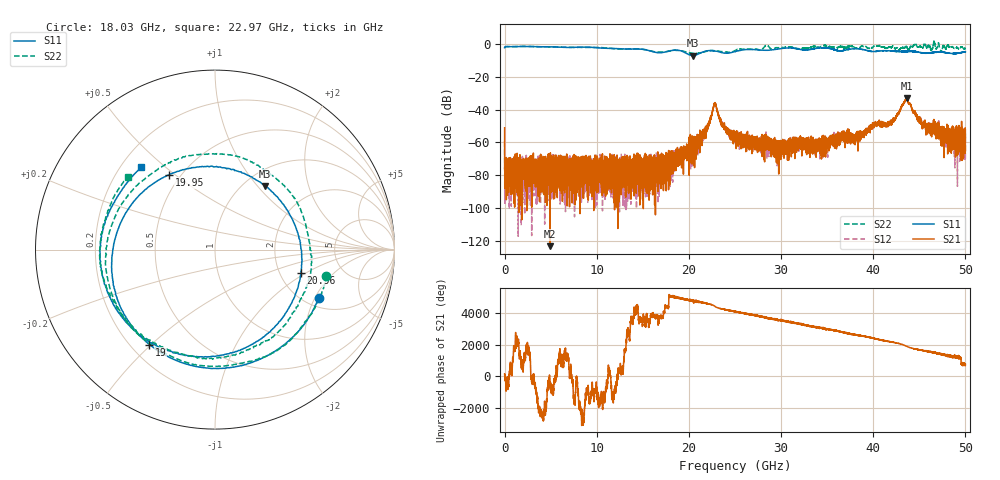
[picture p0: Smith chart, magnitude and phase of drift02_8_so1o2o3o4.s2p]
!Created with skrf (http://scikit-rf.org).
# Hz S RI R 50.0
!freq ReS11 ImS11 ReS21 ImS21 ReS12 ImS12 ReS22 ImS22
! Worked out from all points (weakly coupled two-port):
!   10001 points, 300 kHz to 50 GHz, reference 50 ohm
!   highest |S21| = -32.76 dB at 43.63 GHz (marker M1); lowest = -123.4 dB at 4.93 GHz (marker M2)
!   lowest |S11| = -6.9 dB at 20.45 GHz (marker M3), VSWR 2.64, Z = 61.7 + j54.8 ohm
!   |S11| at or under -10 dB: nowhere
!   |S22| runs from -5.7 to 2.3 dB; largest |S21 - S12| = 0.0039
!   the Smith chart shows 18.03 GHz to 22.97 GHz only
!   S11 on the Smith chart (normalised r, x): 18.03 GHz: 2.37, -2.14; 19 GHz: 0.27, -0.49; 19.95 GHz: 0.43, +0.47; 20.96 GHz: 2.62, -0.90; 22.97 GHz: 0.28, +0.42
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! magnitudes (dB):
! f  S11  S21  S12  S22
! 300 kHz  -2.1  -51.1  -59.2  -2.1
! 270.3 MHz  -1.4  -79.7  -74.2  -1.4
! 4.93 GHz  -1.6  -123.4  -74.5  -1.6
! 8.335 GHz  -1.7  -82.6  -79.5  -1.9
! 16.67 GHz  -5.2  -76.0  -72.9  -4.7
! 18.03 GHz  -3.9  -77.4  -75.9  -3.9
! 19 GHz  -3.8  -66.7  -68.1  -3.9
! 19.95 GHz  -6.2  -65.8  -63.0  -5.2
! 20.45 GHz  -6.9  -65.8  -60.7  -5.5
! 20.96 GHz  -6.1  -60.2  -60.3  -5.6
! 22.97 GHz  -4.2  -38.0  -38.6  -4.0
! 23.73 GHz  -5.3  -48.3  -50.9  -4.6
! 25 GHz  -4.5  -55.6  -54.4  -3.9
! 29.85 GHz  -2.8  -65.3  -63.3  -2.0
! 33.34 GHz  -3.0  -59.9  -62.0  -1.6
! 38.25 GHz  -2.8  -55.5  -57.0  -2.2
! 40.24 GHz  -4.4  -49.2  -48.4  -0.7
! 41.67 GHz  -4.0  -47.9  -48.8  -1.9
! 43.63 GHz  -4.5  -32.8  -33.3  -1.5
! 45.64 GHz  -5.4  -48.4  -49.4  -0.1
! 49.75 GHz  -4.9  -60.3  -52.9  -2.6
! 50 GHz  -4.7  -65.0  -71.3  -2.6
